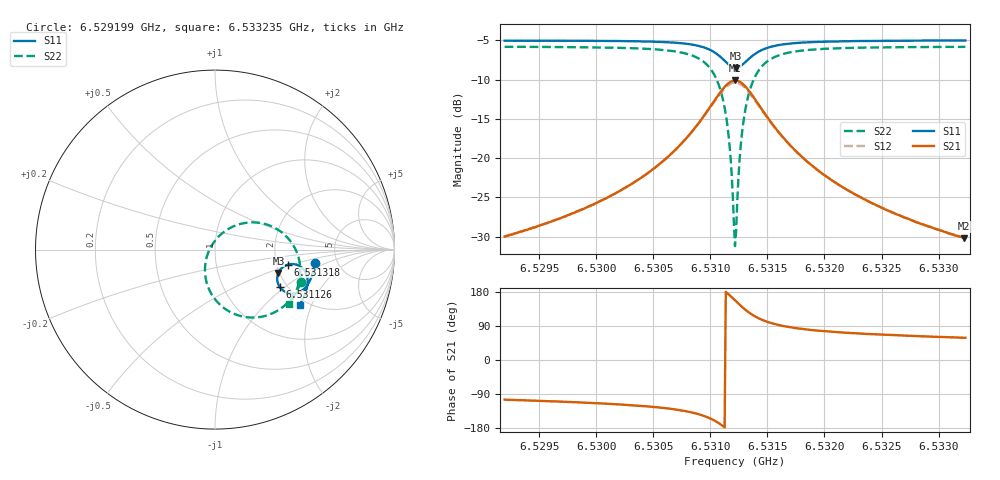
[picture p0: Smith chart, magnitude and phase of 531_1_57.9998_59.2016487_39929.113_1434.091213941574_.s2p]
#  HZ  S  RI  R  50.00
! Rohde & Schwarz Vector Network Analyzer
! Rohde-Schwarz,ZNB20-2Port,1311601062101988,3.16
! Created: UTC 3/21/2024, 1:14:05 AM
! freq[Hz]  re:S11  im:S11  re:S21  im:S21  re:S12  im:S12  re:S22  im:S22
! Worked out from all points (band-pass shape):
!   401 points, 6.529199 GHz to 6.533235 GHz, reference 50 ohm
!   highest |S21| = -10.09 dB at 6.531217 GHz (marker M1); lowest = -30.2 dB at 6.533224 GHz (marker M2)
!   |S21| within 3 dB of the highest: 6.531016 GHz to 6.53142 GHz (403.7 kHz wide, 0.00618 % of centre)
!   lowest |S11| = -8.5 dB at 6.531227 GHz (marker M3), VSWR 2.21, Z = 98.7 - j29.8 ohm
!   |S11| at or under -10 dB: nowhere
!   |S22| runs from -31.2 to -5.8 dB; largest |S21 - S12| = 0.012
!   S11 on the Smith chart (normalised r, x): 6.529199 GHz: 3.38, -0.72; 6.531126 GHz: 1.83, -0.93; 6.531318 GHz: 2.31, -0.46; 6.533235 GHz: 1.82, -1.64
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6.5291987e9  0.556 -0.0734  -0.00794 -0.0307  -0.00864 -0.0305  0.4807 -0.1781
6.5298747e9  0.5445 -0.1297  -0.0179 -0.0436  -0.0188 -0.0432  0.4486 -0.2407
6.5305507e9  0.5146 -0.1971  -0.0526 -0.0744  -0.0546 -0.0729  0.3656 -0.3293
6.5307828e9  0.4869 -0.2264  -0.0933 -0.0936  -0.0961 -0.0903  0.2834 -0.3685
6.5309543e9  0.4421 -0.2447  -0.1627 -0.0992  -0.1649 -0.0925  0.1559 -0.3734
6.5310552e9  0.3965 -0.2382  -0.233 -0.0712  -0.2319 -0.0616  0.0373 -0.3154
6.5311258e9  0.3615 -0.2095  -0.2843 -0.0112  -0.2782 -0.00119  -0.0393 -0.206
6.5311662e9  0.3486 -0.1807  -0.2999 0.043  -0.2907 0.0508  -0.056 -0.1139
6.5312066e9  0.3482 -0.1465  -0.2946 0.1045  -0.2833 0.1088  -0.0368 -0.014
6.5312166e9  0.3504 -0.1379  -0.2892 0.1195  -0.278 0.1228  -0.0257 0.00989
6.5312267e9  0.3534 -0.1297  -0.2826 0.134  -0.2713 0.1362  -0.0124 0.0324
6.5312368e9  0.3574 -0.1217  -0.2744 0.1477  -0.2633 0.1489  0.00301 0.0536
6.5312671e9  0.3734 -0.1016  -0.2435 0.1824  -0.2337 0.1811  0.0591 0.1052
6.5312873e9  0.3867 -0.0919  -0.2193 0.1993  -0.2105 0.1968  0.1016 0.1289
6.5313175e9  0.4078 -0.0831  -0.1815 0.2147  -0.1746 0.2112  0.1664 0.1483
6.5313882e9  0.452 -0.0833  -0.1043 0.2158  -0.101 0.2125  0.2957 0.1374
6.5314891e9  0.4901 -0.1066  -0.0384 0.1832  -0.0368 0.1813  0.4026 0.0681
6.5316404e9  0.5118 -0.1436  0.000999 0.1351  0.00197 0.1343  0.4609 -0.029
6.5318926e9  0.5163 -0.1875  0.0173 0.0877  0.0183 0.0876  0.4754 -0.1277
6.5325686e9  0.4971 -0.258  0.0187 0.0419  0.0193 0.0417  0.4464 -0.2444
6.5332245e9  0.4712 -0.3073  0.0162 0.0263  0.0168 0.0263  0.4125 -0.3033
6.5332345e9  0.4708 -0.308  0.0161 0.0265  0.0167 0.0261  0.412 -0.3042
